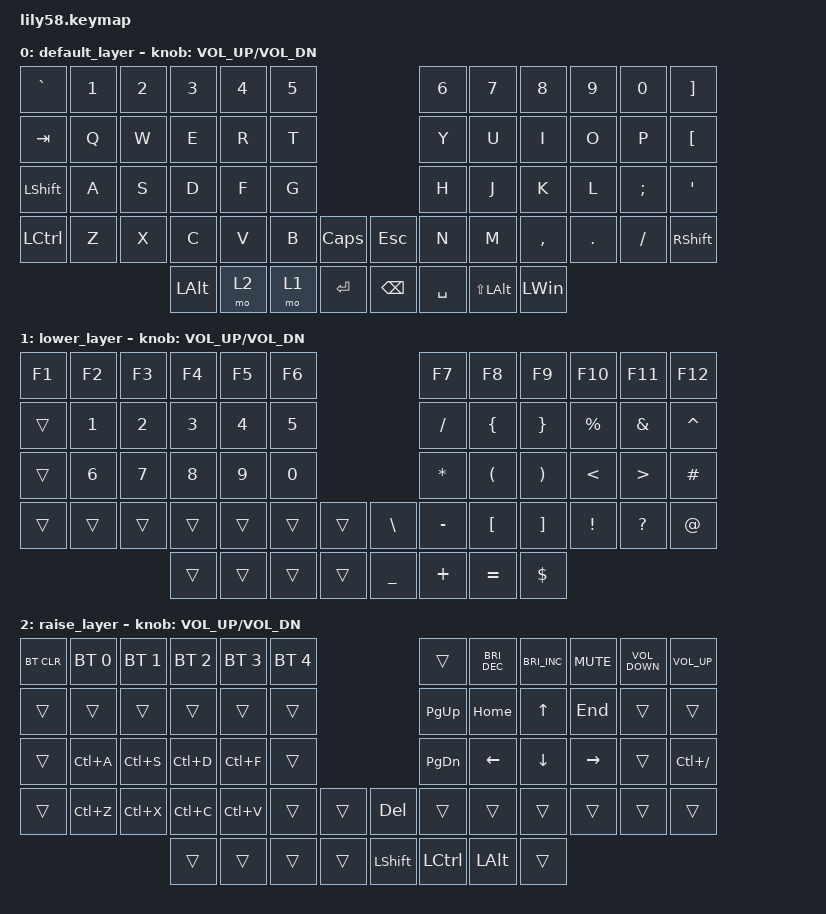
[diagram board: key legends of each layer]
/*
 * Copyright (c) 2020 The ZMK Contributors
 *
 * SPDX-License-Identifier: MIT
 */

#include <behaviors.dtsi>
#include <dt-bindings/zmk/bt.h>
#include <dt-bindings/zmk/keys.h>

/ {
    keymap {
        compatible = "zmk,keymap";

        default_layer {
            // ------------------------------------------------------------------------------------------------------------
            // |  ESC  |  1  |  2  |  3   |  4   |  5   |                   |  6   |  7    |  8    |  9   |   0   |   `   |
            // |  TAB  |  Q  |  W  |  E   |  R   |  T   |                   |  Y   |  U    |  I    |  O   |   P   |   -   |
            // |  CTRL |  A  |  S  |  D   |  F   |  G   |                   |  H   |  J    |  K    |  L   |   ;   |   '   |
            // | SHIFT |  Z  |  X  |  C   |  V   |  B   |   "["  |  |  "]"  |  N   |  M    |  ,    |  .   |   /   | SHIFT |
            //                     | ALT  | GUI  | LOWER|  SPACE |  | ENTER | RAISE| BSPC  | GUI   |

            bindings = <
&kp GRAVE         &kp N1  &kp N2  &kp N3    &kp N4  &kp N5                              &kp N6     &kp N7            &kp N8        &kp N9   &kp N0    &kp RIGHT_BRACKET
&kp TAB           &kp Q   &kp W   &kp E     &kp R   &kp T                               &kp Y      &kp U             &kp I         &kp O    &kp P     &kp LEFT_BRACKET
&kp LEFT_SHIFT    &kp A   &kp S   &kp D     &kp F   &kp G                               &kp H      &kp J             &kp K         &kp L    &kp SEMI  &kp SQT
&kp LEFT_CONTROL  &kp Z   &kp X   &kp C     &kp V   &kp B   &kp CAPS     &kp ESCAPE     &kp N      &kp M             &kp COMMA     &kp DOT  &kp FSLH  &kp RSHFT
                                  &kp LALT  &mo 2   &mo 1   &kp ENTER    &kp BACKSPACE  &kp SPACE  &kp LS(LEFT_ALT)  &kp LEFT_WIN
            >;

            sensor-bindings = <&inc_dec_kp C_VOL_UP C_VOL_DN>;
        };

        lower_layer {
            // --------------------------------------------------------------------------------------------------------------
            // | LPAD  | BRDn | BRUp |  MUT |  Vo- |  Vo+ |                   |      |       |       |      |       |       |
            // |  F1   |  F2  |  F3  |  F4  |  F5  |  F6  |                   |  F7  |  F8   |  F9   |  F10 |  F11  |  F12  |
            // |   `   |  !   |  @   |  #   |  $   |  %   |                   |  ^   |  &    |  *    |  (   |   )   |   ~   |
            // |       |      |      |      |      |      |        |  |       |      |  _    |  +    |  {   |   }   |  "|"  |
            //                       |      |      |      |        |  |       |      |       |       |

            bindings = <
&kp F1  &kp F2        &kp F3        &kp F4        &kp F5        &kp F6                            &kp F7        &kp F8                &kp F9                 &kp F10          &kp F11           &kp F12
&trans  &kp NUMBER_1  &kp NUMBER_2  &kp NUMBER_3  &kp NUMBER_4  &kp N5                            &kp SLASH     &kp LEFT_BRACE        &kp RIGHT_BRACE        &kp PERCENT      &kp AMPERSAND     &kp CARET
&trans  &kp NUMBER_6  &kp N7        &kp N8        &kp N9        &kp N0                            &kp ASTERISK  &kp LEFT_PARENTHESIS  &kp RIGHT_PARENTHESIS  &kp LESS_THAN    &kp GREATER_THAN  &kp HASH
&trans  &trans        &trans        &trans        &trans        &trans  &trans    &kp BACKSLASH   &kp MINUS     &kp LEFT_BRACKET      &kp RIGHT_BRACKET      &kp EXCLAMATION  &kp QUESTION      &kp AT_SIGN
                                    &trans        &trans        &trans  &trans    &kp UNDERSCORE  &kp PLUS      &kp EQUAL             &kp DOLLAR
            >;

            sensor-bindings = <&inc_dec_kp C_VOL_UP C_VOL_DN>;
        };

        raise_layer {
            // ------------------------------------------------------------------------------------------------------------
            // |       |     |     |      |      |      |                   |      |       |       |      |       |       |
            // |   `   |  1  |  2  |  3   |  4   |  5   |                   |  6   |   7   |   8   |  9   |   0   |       |
            // |   F1  |  F2 |  F3 |  F4  |  F5  |  F6  |                   |      |   <-  |   v   |  ^   |  ->   |       |
            // |   F7  |  F8 |  F9 |  F10 |  F11 |  F12 |        |  |       |  +   |   -   |   =   |  [   |   ]   |   \   |
            //                     |      |      |      |        |  |       |      |       |       |

            bindings = <
&bt BT_CLR  &bt BT_SEL 0  &bt BT_SEL 1  &bt BT_SEL 2  &bt BT_SEL 3  &bt BT_SEL 4                            &trans            &kp C_BRI_DEC  &kp C_BRIGHTNESS_INC  &kp C_MUTE  &kp C_VOLUME_DOWN  &kp C_VOLUME_UP
&trans      &trans        &trans        &trans        &trans        &trans                                  &kp PAGE_UP       &kp HOME       &kp UP_ARROW          &kp END     &trans             &trans
&trans      &kp LC(A)     &kp LC(S)     &kp LC(D)     &kp LC(F)     &trans                                  &kp PAGE_DOWN     &kp LEFT       &kp DOWN              &kp RIGHT   &trans             &kp LC(SLASH)
&trans      &kp LC(Z)     &kp LC(X)     &kp LC(C)     &kp LC(V)     &trans        &trans    &kp DELETE      &trans            &trans         &trans                &trans      &trans             &trans
                                        &trans        &trans        &trans        &trans    &kp LEFT_SHIFT  &kp LEFT_CONTROL  &kp LEFT_ALT   &trans
            >;

            sensor-bindings = <&inc_dec_kp C_VOL_UP C_VOL_DN>;
        };
    };
};
